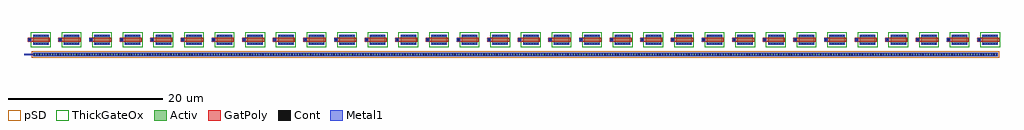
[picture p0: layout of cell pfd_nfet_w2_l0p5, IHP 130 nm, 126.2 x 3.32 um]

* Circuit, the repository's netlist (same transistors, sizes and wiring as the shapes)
* extracted by klt extract --deck sg13cmos5l

* cell pfd_nfet_w2_l0p5
* pin vsubs
.SUBCKT pfd_nfet_w2_l0p5 vsubs
* device instance $1 r0 *1 2.3,3.11 nfet
X$1 \$66 \$2 \$3 vsubs sg13_hv_nmos L=0.5U W=2U AS=0.8P AD=0.8P PS=4.8U PD=4.8U
* device instance $2 r0 *1 6.26,3.11 nfet
X$2 \$67 \$4 \$5 vsubs sg13_hv_nmos L=0.5U W=2U AS=0.8P AD=0.8P PS=4.8U PD=4.8U
* device instance $3 r0 *1 10.22,3.11 nfet
X$3 \$68 \$6 \$7 vsubs sg13_hv_nmos L=0.5U W=2U AS=0.8P AD=0.8P PS=4.8U PD=4.8U
* device instance $4 r0 *1 14.18,3.11 nfet
X$4 \$69 \$8 \$9 vsubs sg13_hv_nmos L=0.5U W=2U AS=0.8P AD=0.8P PS=4.8U PD=4.8U
* device instance $5 r0 *1 18.14,3.11 nfet
X$5 \$70 \$10 \$11 vsubs sg13_hv_nmos L=0.5U W=2U AS=0.8P AD=0.8P PS=4.8U
+ PD=4.8U
* device instance $6 r0 *1 22.1,3.11 nfet
X$6 \$71 \$12 \$13 vsubs sg13_hv_nmos L=0.5U W=2U AS=0.8P AD=0.8P PS=4.8U
+ PD=4.8U
* device instance $7 r0 *1 26.06,3.11 nfet
X$7 \$72 \$14 \$15 vsubs sg13_hv_nmos L=0.5U W=2U AS=0.8P AD=0.8P PS=4.8U
+ PD=4.8U
* device instance $8 r0 *1 30.02,3.11 nfet
X$8 \$73 \$16 \$17 vsubs sg13_hv_nmos L=0.5U W=2U AS=0.8P AD=0.8P PS=4.8U
+ PD=4.8U
* device instance $9 r0 *1 33.98,3.11 nfet
X$9 \$74 \$18 \$19 vsubs sg13_hv_nmos L=0.5U W=2U AS=0.8P AD=0.8P PS=4.8U
+ PD=4.8U
* device instance $10 r0 *1 37.94,3.11 nfet
X$10 \$75 \$20 \$21 vsubs sg13_hv_nmos L=0.5U W=2U AS=0.8P AD=0.8P PS=4.8U
+ PD=4.8U
* device instance $11 r0 *1 41.9,3.11 nfet
X$11 \$76 \$22 \$23 vsubs sg13_hv_nmos L=0.5U W=2U AS=0.8P AD=0.8P PS=4.8U
+ PD=4.8U
* device instance $12 r0 *1 45.86,3.11 nfet
X$12 \$77 \$24 \$25 vsubs sg13_hv_nmos L=0.5U W=2U AS=0.8P AD=0.8P PS=4.8U
+ PD=4.8U
* device instance $13 r0 *1 49.82,3.11 nfet
X$13 \$78 \$26 \$27 vsubs sg13_hv_nmos L=0.5U W=2U AS=0.8P AD=0.8P PS=4.8U
+ PD=4.8U
* device instance $14 r0 *1 53.78,3.11 nfet
X$14 \$79 \$28 \$29 vsubs sg13_hv_nmos L=0.5U W=2U AS=0.8P AD=0.8P PS=4.8U
+ PD=4.8U
* device instance $15 r0 *1 57.74,3.11 nfet
X$15 \$80 \$30 \$31 vsubs sg13_hv_nmos L=0.5U W=2U AS=0.8P AD=0.8P PS=4.8U
+ PD=4.8U
* device instance $16 r0 *1 61.7,3.11 nfet
X$16 \$81 \$32 \$33 vsubs sg13_hv_nmos L=0.5U W=2U AS=0.8P AD=0.8P PS=4.8U
+ PD=4.8U
* device instance $17 r0 *1 65.66,3.11 nfet
X$17 \$82 \$34 \$35 vsubs sg13_hv_nmos L=0.5U W=2U AS=0.8P AD=0.8P PS=4.8U
+ PD=4.8U
* device instance $18 r0 *1 69.62,3.11 nfet
X$18 \$83 \$36 \$37 vsubs sg13_hv_nmos L=0.5U W=2U AS=0.8P AD=0.8P PS=4.8U
+ PD=4.8U
* device instance $19 r0 *1 73.58,3.11 nfet
X$19 \$84 \$38 \$39 vsubs sg13_hv_nmos L=0.5U W=2U AS=0.8P AD=0.8P PS=4.8U
+ PD=4.8U
* device instance $20 r0 *1 77.54,3.11 nfet
X$20 \$85 \$40 \$41 vsubs sg13_hv_nmos L=0.5U W=2U AS=0.8P AD=0.8P PS=4.8U
+ PD=4.8U
* device instance $21 r0 *1 81.5,3.11 nfet
X$21 \$86 \$42 \$43 vsubs sg13_hv_nmos L=0.5U W=2U AS=0.8P AD=0.8P PS=4.8U
+ PD=4.8U
* device instance $22 r0 *1 85.46,3.11 nfet
X$22 \$87 \$44 \$45 vsubs sg13_hv_nmos L=0.5U W=2U AS=0.8P AD=0.8P PS=4.8U
+ PD=4.8U
* device instance $23 r0 *1 89.42,3.11 nfet
X$23 \$88 \$46 \$47 vsubs sg13_hv_nmos L=0.5U W=2U AS=0.8P AD=0.8P PS=4.8U
+ PD=4.8U
* device instance $24 r0 *1 93.38,3.11 nfet
X$24 \$89 \$48 \$49 vsubs sg13_hv_nmos L=0.5U W=2U AS=0.8P AD=0.8P PS=4.8U
+ PD=4.8U
* device instance $25 r0 *1 97.34,3.11 nfet
X$25 \$90 \$50 \$51 vsubs sg13_hv_nmos L=0.5U W=2U AS=0.8P AD=0.8P PS=4.8U
+ PD=4.8U
* device instance $26 r0 *1 101.3,3.11 nfet
X$26 \$91 \$52 \$53 vsubs sg13_hv_nmos L=0.5U W=2U AS=0.8P AD=0.8P PS=4.8U
+ PD=4.8U
* device instance $27 r0 *1 105.26,3.11 nfet
X$27 \$92 \$54 \$55 vsubs sg13_hv_nmos L=0.5U W=2U AS=0.8P AD=0.8P PS=4.8U
+ PD=4.8U
* device instance $28 r0 *1 109.22,3.11 nfet
X$28 \$93 \$56 \$57 vsubs sg13_hv_nmos L=0.5U W=2U AS=0.8P AD=0.8P PS=4.8U
+ PD=4.8U
* device instance $29 r0 *1 113.18,3.11 nfet
X$29 \$94 \$58 \$59 vsubs sg13_hv_nmos L=0.5U W=2U AS=0.8P AD=0.8P PS=4.8U
+ PD=4.8U
* device instance $30 r0 *1 117.14,3.11 nfet
X$30 \$95 \$60 \$61 vsubs sg13_hv_nmos L=0.5U W=2U AS=0.8P AD=0.8P PS=4.8U
+ PD=4.8U
* device instance $31 r0 *1 121.1,3.11 nfet
X$31 \$96 \$62 \$63 vsubs sg13_hv_nmos L=0.5U W=2U AS=0.8P AD=0.8P PS=4.8U
+ PD=4.8U
* device instance $32 r0 *1 125.06,3.11 nfet
X$32 \$97 \$64 \$65 vsubs sg13_hv_nmos L=0.5U W=2U AS=0.8P AD=0.8P PS=4.8U
+ PD=4.8U
.ENDS pfd_nfet_w2_l0p5

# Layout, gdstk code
import gdstk
lib = gdstk.Library(unit=1e-6, precision=1e-09)
def R(c, l, rs):  # rectangles x0, y0, x1, y1
    for r in rs: c.add(gdstk.rectangle(r[:2], r[2:], *l))
def A(c, l, x, y, w, h, nx, ny, dx, dy):  # array of equal rectangles
    R(c, l, [(x+i*dx, y+j*dy, x+i*dx+w, y+j*dy+h) for i in range(nx) for j in range(ny)])
Activ = (1, 0)
GatPoly = (5, 0)
Cont = (6, 0)
Metal1 = (8, 0)
pSD = (14, 0)
ThickGateOx = (44, 0)

pfd_nfet_w2_l0p5 = lib.new_cell('pfd_nfet_w2_l0p5')
A(pfd_nfet_w2_l0p5, Activ, 1.3, 2.46, 2, 1.3, 32, 1, 3.96, 0)
R(pfd_nfet_w2_l0p5, Activ, [(1.3,0.96,126.06,1.46)])
A(pfd_nfet_w2_l0p5, GatPoly, 0.62, 2.86, 0.5, 0.5, 32, 1, 3.96, 0)
A(pfd_nfet_w2_l0p5, GatPoly, 1.12, 2.86, 2.36, 0.5, 32, 1, 3.96, 0)
A(pfd_nfet_w2_l0p5, Cont, 1.38, 1.13, 0.16, 0.16, 367, 1, 0.34, 0)
A(pfd_nfet_w2_l0p5, Cont, 1.37, 2.53, 0.16, 0.16, 6, 2, 0.34, 1)
A(pfd_nfet_w2_l0p5, Cont, 5.33, 2.53, 0.16, 0.16, 6, 2, 0.34, 1)
A(pfd_nfet_w2_l0p5, Cont, 9.29, 2.53, 0.16, 0.16, 6, 2, 0.34, 1)
A(pfd_nfet_w2_l0p5, Cont, 13.25, 2.53, 0.16, 0.16, 6, 2, 0.34, 1)
A(pfd_nfet_w2_l0p5, Cont, 17.21, 2.53, 0.16, 0.16, 6, 2, 0.34, 1)
A(pfd_nfet_w2_l0p5, Cont, 21.17, 2.53, 0.16, 0.16, 6, 2, 0.34, 1)
A(pfd_nfet_w2_l0p5, Cont, 25.13, 2.53, 0.16, 0.16, 6, 2, 0.34, 1)
A(pfd_nfet_w2_l0p5, Cont, 29.09, 2.53, 0.16, 0.16, 6, 2, 0.34, 1)
A(pfd_nfet_w2_l0p5, Cont, 33.05, 2.53, 0.16, 0.16, 6, 2, 0.34, 1)
A(pfd_nfet_w2_l0p5, Cont, 37.01, 2.53, 0.16, 0.16, 6, 2, 0.34, 1)
A(pfd_nfet_w2_l0p5, Cont, 40.97, 2.53, 0.16, 0.16, 6, 2, 0.34, 1)
A(pfd_nfet_w2_l0p5, Cont, 44.93, 2.53, 0.16, 0.16, 6, 2, 0.34, 1)
A(pfd_nfet_w2_l0p5, Cont, 48.89, 2.53, 0.16, 0.16, 6, 2, 0.34, 1)
A(pfd_nfet_w2_l0p5, Cont, 52.85, 2.53, 0.16, 0.16, 6, 2, 0.34, 1)
A(pfd_nfet_w2_l0p5, Cont, 56.81, 2.53, 0.16, 0.16, 6, 2, 0.34, 1)
A(pfd_nfet_w2_l0p5, Cont, 60.77, 2.53, 0.16, 0.16, 6, 2, 0.34, 1)
A(pfd_nfet_w2_l0p5, Cont, 64.73, 2.53, 0.16, 0.16, 6, 2, 0.34, 1)
A(pfd_nfet_w2_l0p5, Cont, 68.69, 2.53, 0.16, 0.16, 6, 2, 0.34, 1)
A(pfd_nfet_w2_l0p5, Cont, 72.65, 2.53, 0.16, 0.16, 6, 2, 0.34, 1)
A(pfd_nfet_w2_l0p5, Cont, 76.61, 2.53, 0.16, 0.16, 6, 2, 0.34, 1)
A(pfd_nfet_w2_l0p5, Cont, 80.57, 2.53, 0.16, 0.16, 6, 2, 0.34, 1)
A(pfd_nfet_w2_l0p5, Cont, 84.53, 2.53, 0.16, 0.16, 6, 2, 0.34, 1)
A(pfd_nfet_w2_l0p5, Cont, 88.49, 2.53, 0.16, 0.16, 6, 2, 0.34, 1)
A(pfd_nfet_w2_l0p5, Cont, 92.45, 2.53, 0.16, 0.16, 6, 2, 0.34, 1)
A(pfd_nfet_w2_l0p5, Cont, 96.41, 2.53, 0.16, 0.16, 6, 2, 0.34, 1)
A(pfd_nfet_w2_l0p5, Cont, 100.37, 2.53, 0.16, 0.16, 6, 2, 0.34, 1)
A(pfd_nfet_w2_l0p5, Cont, 104.33, 2.53, 0.16, 0.16, 6, 2, 0.34, 1)
A(pfd_nfet_w2_l0p5, Cont, 108.29, 2.53, 0.16, 0.16, 6, 2, 0.34, 1)
A(pfd_nfet_w2_l0p5, Cont, 112.25, 2.53, 0.16, 0.16, 6, 2, 0.34, 1)
A(pfd_nfet_w2_l0p5, Cont, 116.21, 2.53, 0.16, 0.16, 6, 2, 0.34, 1)
A(pfd_nfet_w2_l0p5, Cont, 120.17, 2.53, 0.16, 0.16, 6, 2, 0.34, 1)
A(pfd_nfet_w2_l0p5, Cont, 124.13, 2.53, 0.16, 0.16, 6, 2, 0.34, 1)
A(pfd_nfet_w2_l0p5, Cont, 0.79, 3.03, 0.16, 0.16, 32, 1, 3.96, 0)
A(pfd_nfet_w2_l0p5, Metal1, 1.3, 2.46, 2, 0.26, 32, 2, 3.96, 1.04)
A(pfd_nfet_w2_l0p5, Metal1, 0.67, 2.91, 0.4, 0.4, 32, 1, 3.96, 0)
R(pfd_nfet_w2_l0p5, Metal1, [(1.3,0.96,126.06,1.46), (0.125,1.085,1.3,1.335)])
R(pfd_nfet_w2_l0p5, pSD, [(1.12,0.78,126.24,1.64)])
A(pfd_nfet_w2_l0p5, ThickGateOx, 1.03, 2.12, 2.54, 1.98, 32, 1, 3.96, 0)

lib.write_gds('pfd_nfet_w2_l0p5.gds')
